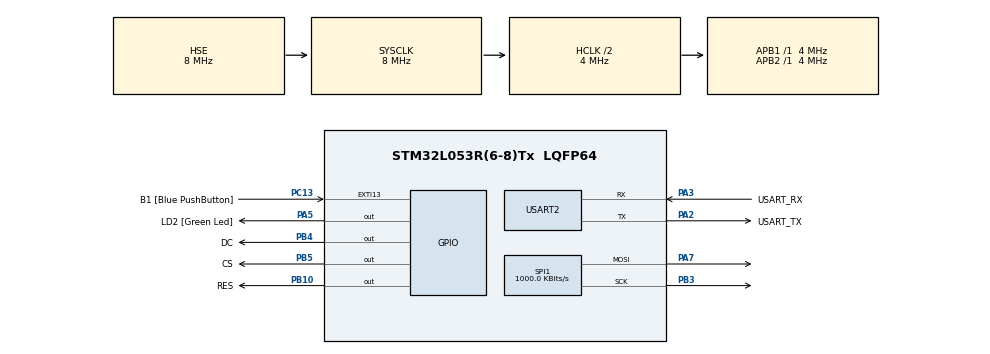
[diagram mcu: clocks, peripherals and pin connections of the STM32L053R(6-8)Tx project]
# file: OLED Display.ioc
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Mcu.Family=STM32L0
Mcu.Name=STM32L053R(6-8)Tx
Mcu.Package=LQFP64
NVIC.SPI1_IRQn=true\:0\:0\:false\:false\:true\:true\:true
PA13.GPIO_Label=TMS
PA13.Mode=Serial_Wire
PA13.Signal=SYS_SWDIO
PA14.GPIO_Label=TCK
PA14.Mode=Serial_Wire
PA14.Signal=SYS_SWCLK
PA2.GPIO_Label=USART_TX
PA2.Mode=Asynchronous
PA2.Signal=USART2_TX
PA3.GPIO_Label=USART_RX
PA3.Mode=Asynchronous
PA3.Signal=USART2_RX
PA5.GPIO_Label=LD2 [Green Led]
PA5.Signal=GPIO_Output
PA7.Mode=TX_Only_Simplex_Unidirect_Master
PA7.Signal=SPI1_MOSI
PB10.GPIO_Label=RES
PB10.PinState=GPIO_PIN_SET
PB10.Signal=GPIO_Output
PB3.Mode=TX_Only_Simplex_Unidirect_Master
PB3.Signal=SPI1_SCK
PB4.GPIO_Label=DC
PB4.Signal=GPIO_Output
PB5.GPIO_Label=CS
PB5.PinState=GPIO_PIN_SET
PB5.Signal=GPIO_Output
PC13.GPIO_Label=B1 [Blue PushButton]
PC13.GPIO_ModeDefaultEXTI=GPIO_MODE_IT_FALLING
PC13.Signal=GPXTI13
PC14-OSC32_IN.Mode=LSE-External-Oscillator
PC14-OSC32_IN.Signal=RCC_OSC32_IN
PC15-OSC32_OUT.Mode=LSE-External-Oscillator
PC15-OSC32_OUT.Signal=RCC_OSC32_OUT
PH0-OSC_IN.Mode=HSE-External-Clock-Source
PH0-OSC_IN.Signal=RCC_OSC_IN
PH1-OSC_OUT.Signal=RCC_OSC_OUT
ProjectManager.HeapSize=0x200
ProjectManager.StackSize=0x400
ProjectManager.TargetToolchain=MDK-ARM V5.27
RCC.AHBCLKDivider=RCC_SYSCLK_DIV2
RCC.AHBFreq_Value=4000000
RCC.APB1Freq_Value=4000000
RCC.APB1TimFreq_Value=4000000
RCC.APB2Freq_Value=4000000
RCC.APB2TimFreq_Value=4000000
RCC.HCLKFreq_Value=4000000
RCC.HSE_VALUE=8000000
RCC.HSI16_VALUE=16000000
RCC.HSI48_VALUE=48000000
RCC.HSI_VALUE=16000000
RCC.MSI_VALUE=2097000
RCC.SYSCLKFreq_VALUE=8000000
RCC.SYSCLKSource=RCC_SYSCLKSOURCE_HSE
RCC.VCOOutputFreq_Value=48000000
SPI1.BaudRatePrescaler=SPI_BAUDRATEPRESCALER_4
SPI1.CalculateBaudRate=1000.0 KBits/s
SPI1.Direction=SPI_DIRECTION_2LINES
SPI1.Mode=SPI_MODE_MASTER
SPI1.VirtualType=VM_MASTER
USART2.VirtualMode-Asynchronous=VM_ASYNC
board=NUCLEO-L053R8

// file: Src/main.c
/* USER CODE BEGIN Header */
/**
  ******************************************************************************
  * @file           : main.c
  * @brief          : Main program body
  ******************************************************************************
  * @attention
  *
  * <h2><center>&copy; Copyright (c) 2021 STMicroelectronics.
  * All rights reserved.</center></h2>
  *
  * This software component is licensed by ST under BSD 3-Clause license,
  * the "License"; You may not use this file except in compliance with the
  * License. You may obtain a copy of the License at:
  *                        opensource.org/licenses/BSD-3-Clause
  *
  ******************************************************************************
  */
/* USER CODE END Header */

#include "main.h"
#include "spi.h"
#include "usart.h"
#include "gpio.h"

/* USER CODE BEGIN Includes */
#include "SSD1331.h"
/* USER CODE END Includes */

/* USER CODE BEGIN PTD */
typedef struct {
	uint8_t red;
	uint8_t green;
	uint8_t blue;
}ColorTypedef;
/* USER CODE END PTD */

/* USER CODE BEGIN PD */
#define OP_COMMAND 				0U
#define OP_DATA						1U
/* USER CODE END PD */

void SystemClock_Config(void);
/* USER CODE BEGIN PFP */
void write_cmd(uint8_t data) {
	HAL_GPIO_WritePin(DC_GPIO_Port, DC_Pin, GPIO_PIN_RESET);
	HAL_GPIO_WritePin(CS_GPIO_Port, CS_Pin, GPIO_PIN_RESET);

	HAL_SPI_Transmit_IT(&hspi1, &data, 1);

	HAL_GPIO_WritePin(CS_GPIO_Port, CS_Pin, GPIO_PIN_SET);
}

void DSP_Init() {
	HAL_GPIO_WritePin(RES_GPIO_Port, RES_Pin, GPIO_PIN_RESET);
	HAL_Delay(1);
	HAL_GPIO_WritePin(RES_GPIO_Port, RES_Pin, GPIO_PIN_SET);
/*
	write_cmd(0xA4);
	write_cmd(0xAF);
	write_cmd(0xA1);
	write_cmd(0x00);
	write_cmd(0xA0);
	write_cmd(0x7A);
	*/
	SSD1331_init();
}

void drawLine(uint8_t c1, uint8_t r1, uint8_t c2, uint8_t r2, ColorTypedef color) {
	write_cmd(0x21);
	write_cmd(c1);
	write_cmd(r1);
	write_cmd(c2);
	write_cmd(r2);
	write_cmd(color.red);
	write_cmd(color.green);
	write_cmd(color.green);
}

void drawFrame(uint8_t c1, uint8_t r1, uint8_t c2, uint8_t r2, ColorTypedef border, ColorTypedef fill) {
	write_cmd(0x26);
	write_cmd(0x01);
	write_cmd(0x22);
	write_cmd(c1);
	write_cmd(r1);
	write_cmd(c2);
	write_cmd(r2);
	write_cmd(border.red);
	write_cmd(border.green);
	write_cmd(border.blue);
	write_cmd(fill.red);
	write_cmd(fill.green);
	write_cmd(fill.blue);
}

void clear(void) {
	ColorTypedef black = {0, 0, 0};
	drawFrame(0,0,95,63, black, black);
  HAL_Delay(1);
}

void wait_and_clear(void) {
  HAL_Delay(1000);
	clear();
}

void drawMyName() {
	ColorTypedef blue = {0,50,0};

	// V
	drawLine(2, 2, 6, 2, blue);
	drawLine(2, 2, 10, 20, blue);
	drawLine(10, 20, 14, 20, blue);
	drawLine(22, 2, 14, 20, blue);
	drawLine(18, 2, 22, 2, blue);
	drawLine(6, 2, 12, 16, blue);
	drawLine(12, 16, 18, 2, blue);

	// I
	drawLine(26, 2, 30, 2, blue);
	drawLine(26, 2, 26, 20, blue);
	drawLine(26, 20, 30, 20, blue);
	drawLine(30, 2, 30, 20, blue);

	// T
	drawLine(34, 2, 34, 6, blue);
	drawLine(34, 2, 54, 2, blue);
	drawLine(54, 2, 54, 6, blue);
	drawLine(42, 20, 46, 20, blue);
	drawLine(34, 6, 42, 6, blue);
	drawLine(46, 6, 54, 6, blue);
	drawLine(42, 6, 42, 20, blue);
	drawLine(46, 6, 46, 20, blue);

	// O
	drawLine(58, 2, 58, 20, blue);
	drawLine(62, 6, 62, 16, blue);
	drawLine(62, 6, 66, 6, blue);
	drawLine(66, 6, 66, 16, blue);
	drawLine(62, 16, 66, 16, blue);
	drawLine(70, 2, 70, 20, blue);
	drawLine(58, 2, 70, 2, blue);
	drawLine(58, 20, 70, 20, blue);

	// R
	drawLine(74, 2, 94, 2, blue);
	drawLine(74, 2, 74, 20, blue);
	drawLine(94, 2, 94, 14, blue);
	drawLine(74, 20, 78, 20, blue);
	drawLine(78, 20, 78, 14, blue);
	drawLine(90, 20, 94, 20, blue);
	drawLine(78, 14, 82, 14, blue);
	drawLine(90, 20, 82, 14, blue);
	drawLine(94, 20, 88, 14, blue);
	drawLine(88, 14, 94, 14, blue);
	drawLine(78, 6, 90, 6, blue);
	drawLine(78, 6, 78, 10, blue);
	drawLine(90, 6, 90, 10, blue);
	drawLine(78, 10, 90, 10, blue);
}

/* USER CODE END PFP */

int main(void)
{

  /* MCU Configuration--------------------------------------------------------*/

  /* Reset of all peripherals, Initializes the Flash interface and the Systick. */
  HAL_Init();

  /* Configure the system clock */
  SystemClock_Config();

  /* Initialize all configured peripherals */
  MX_GPIO_Init();
  MX_SPI1_Init();
  MX_USART2_UART_Init();
  /* USER CODE BEGIN 2 */
	DSP_Init();
	clear();

/*
	ColorTypedef red = {50,0,0};
	ColorTypedef blue = {0,50,0};
	drawFrame(0,0,96,64, red, blue);
	wait_and_clear();
*/

	drawMyName();
  /* USER CODE END 2 */

  /* Infinite loop */
  while (1)
  {

  }
}

void SystemClock_Config(void)
{
  RCC_OscInitTypeDef RCC_OscInitStruct = {0};
  RCC_ClkInitTypeDef RCC_ClkInitStruct = {0};
  RCC_PeriphCLKInitTypeDef PeriphClkInit = {0};

  /** Configure the main internal regulator output voltage
  */
  __HAL_PWR_VOLTAGESCALING_CONFIG(PWR_REGULATOR_VOLTAGE_SCALE1);
  /** Initializes the CPU, AHB and APB busses clocks
  */
  RCC_OscInitStruct.OscillatorType = RCC_OSCILLATORTYPE_HSE;
  RCC_OscInitStruct.HSEState = RCC_HSE_BYPASS;
  RCC_OscInitStruct.PLL.PLLState = RCC_PLL_NONE;
  if (HAL_RCC_OscConfig(&RCC_OscInitStruct) != HAL_OK)
  {
    Error_Handler();
  }
  /** Initializes the CPU, AHB and APB busses clocks
  */
  RCC_ClkInitStruct.ClockType = RCC_CLOCKTYPE_HCLK|RCC_CLOCKTYPE_SYSCLK
                              |RCC_CLOCKTYPE_PCLK1|RCC_CLOCKTYPE_PCLK2;
  RCC_ClkInitStruct.SYSCLKSource = RCC_SYSCLKSOURCE_HSE;
  RCC_ClkInitStruct.AHBCLKDivider = RCC_SYSCLK_DIV2;
  RCC_ClkInitStruct.APB1CLKDivider = RCC_HCLK_DIV1;
  RCC_ClkInitStruct.APB2CLKDivider = RCC_HCLK_DIV1;

  if (HAL_RCC_ClockConfig(&RCC_ClkInitStruct, FLASH_LATENCY_0) != HAL_OK)
  {
    Error_Handler();
  }
  PeriphClkInit.PeriphClockSelection = RCC_PERIPHCLK_USART2;
  PeriphClkInit.Usart2ClockSelection = RCC_USART2CLKSOURCE_PCLK1;
  if (HAL_RCCEx_PeriphCLKConfig(&PeriphClkInit) != HAL_OK)
  {
    Error_Handler();
  }
}

void Error_Handler(void)
{
}

/************************ (C) COPYRIGHT STMicroelectronics *****END OF FILE****/
